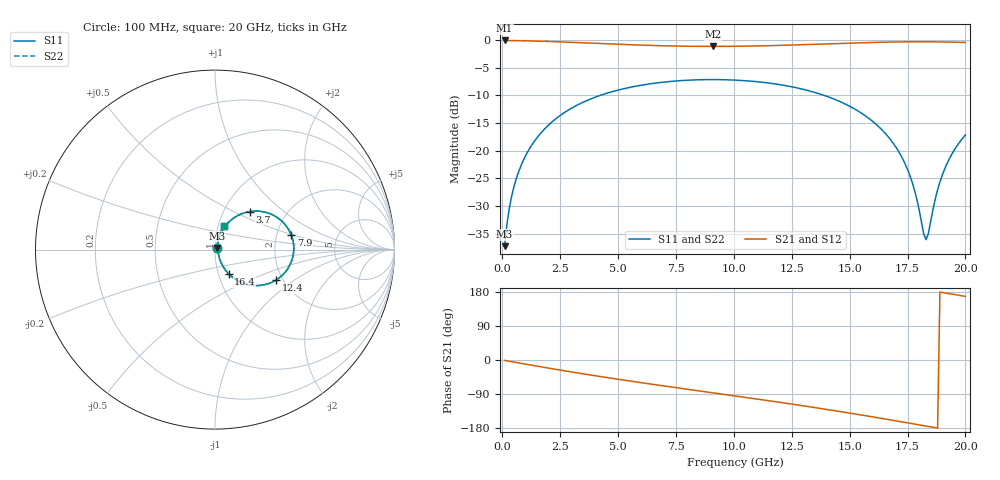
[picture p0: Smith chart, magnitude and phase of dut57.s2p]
! Touchstone file exported from HFSS 2026.1.0
!  File:  C:/ffzhzh/LocalFiles/Ansys_Project_Files/temp_train_TSV_RDL_57_1782967843_15332.aedt
!  Generated:  01:00:32 PM Jul  2, 2026
!  Design:  TSV_RDL
!  Project:  temp_train_TSV_RDL_57_1782967843_15332
! Variables:
!  h_bsmrdl = 5.32um
!  h_ox = 20um
!  h_rdl = 5um
!  h_sub = 97.85um
!  h_tmrdl = 5.78um
!  h_tsv = 97.85um
!  h_via = 3um
!  l_bsmrdl = 437.59um
!  l_sub = 2918.38um
!  l_tmrdl = 274.05um
!  m_sub = 200um
!  pitch = 46.69um
!  r_tsv = 11.7um
!  s_tmrdl = 10um
!  w_bsmrdl = 17.35um
!  w_sub = 500um
!  w_tmrdl = 19.12um
!  x_tsv_center1 = 283.61um
!  x_tsv_center2 = 738.55um
!  x_tsv_center3 = 1031.72um
!  x_tsv_center4 = 1486.66um
!  x_tsv_center5 = 1779.83um
!  x_tsv_center6 = 2234.77um
# GHz S MA R 50.000000
! Terminal data exported
! Port[1] = TM_RDL1_1_T1
! Port[2] = TM_RDL5_1_T1
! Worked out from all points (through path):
!   200 points, 100 MHz to 20 GHz, reference 50 ohm
!   highest |S21| = -0.09 dB at 100 MHz (marker M1); lowest = -1.2 dB at 9.1 GHz (marker M2)
!   group delay of S21, straight-line fit = 25.8 ps
!   lowest |S11| = -37.2 dB at 100 MHz (marker M3), VSWR 1.03, Z = 51 + j0.961 ohm
!   |S11| at or under -10 dB: start of sweep to 4.234 GHz; 13.9 GHz to end of sweep
!   |S22| runs from -37.2 to -7.1 dB; largest |S21 - S12| = 1.7e-14
!   S11 on the Smith chart (normalised r, x): 100 MHz: 1.02, +0.02; 3.7 GHz: 1.32, +0.61; 7.9 GHz: 2.40, +0.50; 12.4 GHz: 1.85, -0.73; 16.4 GHz: 1.12, -0.31; 20 GHz: 1.06, +0.28
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0.1  0.01377 43.2  0.9901 -1.1  0.9901 -1.1  0.01377 43.2
! Gamma 0 0 0 0
! Port Impedance 50 0 50 0
0.3  0.03001 65.5  0.9888 -3.3  0.9888 -3.3  0.03001 65.5
0.5  0.04705 70.2  0.9873 -5.5  0.9873 -5.5  0.04705 70.2
1.1  0.09806 70.4  0.9821 -12.0  0.9821 -12.0  0.09806 70.4
2.1  0.1786 62.5  0.9684 -22.5  0.9684 -22.5  0.1786 62.5
3.5  0.2748 49.5  0.9426 -36.6  0.9426 -36.6  0.2748 49.5
3.7  0.2867 47.6  0.9387 -38.6  0.9387 -38.6  0.2867 47.6
6.8  0.4127 20.4  0.8882 -66.9  0.8882 -66.9  0.4127 20.4
7.9  0.4322 11.2  0.8788 -76.4  0.8788 -76.4  0.4322 11.2
9.1  0.4392 1.4  0.8752 -86.6  0.8752 -86.6  0.4392 1.4
10.1  0.4338 -6.9  0.8774 -95.2  0.8774 -95.2  0.4338 -6.9
12.4  0.3815 -26.2  0.8988 -115.4  0.8988 -115.4  0.3815 -26.2
13.4  0.3407 -34.9  0.9132 -124.6  0.9132 -124.6  0.3407 -34.9
15.1  0.2459 -49.9  0.939 -141.1  0.939 -141.1  0.2459 -49.9
16.4  0.1542 -60.7  0.9549 -154.3  0.9549 -154.3  0.1542 -60.7
16.7  0.1312 -62.7  0.9575 -157.4  0.9575 -157.4  0.1312 -62.7
17.6  0.06003 -63.6  0.9624 -166.9  0.9624 -166.9  0.06007 -63.6
18.3  0.01577 4.0  0.9626 -174.3  0.9626 -174.3  0.01582 3.9
18.7  0.0368 64.4  0.9613 -178.6  0.9613 -178.6  0.0368 64.3
19  0.06011 71.5  0.9596 178.3  0.9596 178.3  0.0601 71.4
19.4  0.09197 72.7  0.9565 174.1  0.9565 174.1  0.09195 72.6
20  0.139 69.9  0.9502 167.8  0.9502 167.8  0.139 69.9
